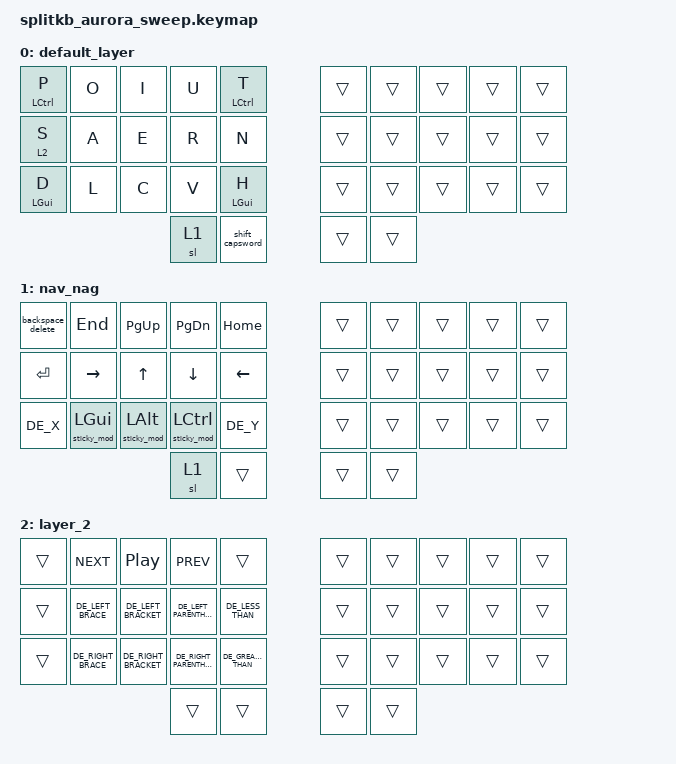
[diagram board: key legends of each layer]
/*
 * Copyright (c) 2022 The ZMK Contributors
 *
 * SPDX-License-Identifier: MIT
 */

#include "keys_de_swiss.h"
#include <behaviors.dtsi>
#include <dt-bindings/zmk/bt.h>
#include <dt-bindings/zmk/keys.h>
#include <dt-bindings/zmk/outputs.h>

&default_transform { col-offset = <0>; };

&mt {
    //  flavor = "tap-preferred";
    // tapping_term_ms = <200>;
};

&led_strip { chain-length = <21>; };

/ {
    combos {
        compatible = "zmk,combos";

        n1 {
            bindings = <&kp NUMBER_1>;
            key-positions = <4 14>;
            layers = <0>;
        };

        f1 {
            bindings = <&kp F1>;
            key-positions = <4 14>;
            layers = <1>;
        };

        n2 {
            bindings = <&kp NUMBER_2>;
            key-positions = <3 13>;
            layers = <0>;
        };

        f2 {
            bindings = <&kp F2>;
            key-positions = <3 13>;
            layers = <1>;
        };

        n3 {
            bindings = <&kp NUMBER_3>;
            key-positions = <2 12>;
            layers = <0>;
        };

        f3 {
            bindings = <&kp F3>;
            key-positions = <2 12>;
            layers = <1>;
        };

        n4 {
            bindings = <&kp NUMBER_4>;
            key-positions = <1 11>;
            layers = <0>;
        };

        f4 {
            bindings = <&kp F4>;
            key-positions = <1 11>;
            layers = <1>;
        };

        n5 {
            bindings = <&kp NUMBER_5>;
            key-positions = <0 10>;
            layers = <0>;
        };

        f5 {
            bindings = <&kp F5>;
            key-positions = <0 10>;
            layers = <1>;
        };

        n6 {
            bindings = <&kp NUMBER_6>;
            key-positions = <14 24>;
            layers = <0>;
        };

        f6 {
            bindings = <&kp F6>;
            key-positions = <14 24>;
            layers = <1>;
        };

        n7 {
            bindings = <&kp NUMBER_7>;
            key-positions = <13 23>;
            layers = <0>;
        };

        f7 {
            bindings = <&kp F7>;
            key-positions = <13 23>;
            layers = <1>;
        };

        n8 {
            bindings = <&kp NUMBER_8>;
            key-positions = <12 22>;
            layers = <0>;
        };

        f8 {
            bindings = <&kp F8>;
            key-positions = <12 22>;
            layers = <1>;
        };

        n9 {
            bindings = <&kp NUMBER_9>;
            key-positions = <11 21>;
            layers = <0>;
        };

        f9 {
            bindings = <&kp F9>;
            key-positions = <11 21>;
            layers = <1>;
        };

        n0 {
            bindings = <&kp N0>;
            key-positions = <10 20>;
            layers = <0>;
        };

        f0 {
            bindings = <&kp F10>;
            key-positions = <10 20>;
            layers = <1>;
        };

        esc {
            bindings = <&kp ESCAPE>;
            key-positions = <14 12>;
        };

        dollar {
            bindings = <&kp DE_DOLLAR>;
            key-positions = <24 22>;
        };

        space {
            bindings = <&kp SPACE>;
            key-positions = <13 11>;
        };

        z {
            bindings = <&kp DE_Z>;
            key-positions = <3 4>;
            layers = <0>;
        };

        g {
            bindings = <&kp G>;
            key-positions = <14 13>;
            layers = <0>;
        };

        b {
            bindings = <&kp B>;
            key-positions = <24 23>;
            layers = <0>;
        };

        m {
            bindings = <&kp M>;
            key-positions = <3 2>;
            layers = <0>;
        };

        f {
            bindings = <&kp F>;
            key-positions = <13 12>;
            layers = <0>;
        };

        j {
            bindings = <&kp J>;
            key-positions = <23 22>;
            layers = <0>;
        };

        w {
            bindings = <&kp DE_W>;
            key-positions = <2 1>;
            layers = <0>;
        };

        oe {
            bindings = <&shift_oe>;
            key-positions = <12 11>;
            layers = <0>;
        };

        k {
            bindings = <&kp K>;
            key-positions = <22 21>;
            layers = <0>;
        };

        q {
            bindings = <&kp DE_Q>;
            key-positions = <1 0>;
            layers = <0>;
        };

        ae {
            bindings = <&shift_ae>;
            key-positions = <11 10>;
            layers = <0>;
        };

        ue {
            bindings = <&shift_ue>;
            key-positions = <21 20>;
            layers = <0>;
        };

        angled-open {
            bindings = <&kp DE_LT>;
            key-positions = <23 24>;
            layers = <1>;
        };

        square-open {
            bindings = <&kp DE_LBKT>;
            key-positions = <3 2>;
            layers = <1>;
        };

        round-open {
            bindings = <&kp DE_LPAR>;
            key-positions = <13 12>;
            layers = <1>;
        };

        curly-open {
            bindings = <&kp DE_LBRC>;
            key-positions = <22 23>;
            layers = <1>;
        };

        square-close {
            bindings = <&kp DE_RBKT>;
            key-positions = <2 1>;
            layers = <1>;
        };

        round-close {
            bindings = <&kp DE_RPAR>;
            key-positions = <11 12>;
            layers = <1>;
        };

        curly-close {
            bindings = <&kp DE_RBRC>;
            key-positions = <22 21>;
            layers = <1>;
        };

        backspace2 {
            bindings = <&kp BACKSPACE>;
            key-positions = <0 1>;
            layers = <1>;
        };

        enter {
            bindings = <&kp ENTER>;
            key-positions = <11 10>;
            layers = <1>;
        };

        angled-close {
            bindings = <&kp DE_GT>;
            key-positions = <21 20>;
            layers = <1>;
        };

        komma {
            bindings = <&kp DE_COMMA>;
            key-positions = <14 3>;
            layers = <0>;
        };

        punkt {
            bindings = <&kp DE_DOT>;
            key-positions = <13 2>;
            layers = <0>;
        };

        tab {
            bindings = <&kp TAB>;
            key-positions = <24 13>;
            layers = <0>;
        };

        strich {
            bindings = <&kp DE_MINUS>;
            key-positions = <23 12>;
            layers = <0>;
        };

        prozent_kaufmaenisch {
            bindings = <&kp DE_PERCENT>;
            key-positions = <14 3 2>;
            layers = <0>;
        };

        slash {
            bindings = <&kp DE_SLASH>;
            key-positions = <13 2 1>;
            layers = <0>;
        };

        hash {
            bindings = <&kp DE_HASH>;
            key-positions = <24 13 12>;
            layers = <0>;
        };

        backslash {
            bindings = <&kp DE_BACKSLASH>;
            key-positions = <23 12 11>;
            layers = <0>;
        };

        bt0 {
            bindings = <&bt BT_SEL 0>;
            key-positions = <4 14 24>;
        };

        bt1 {
            bindings = <&bt BT_SEL 1>;
            key-positions = <3 13 23>;
        };

        bt2 {
            bindings = <&bt BT_SEL 2>;
            key-positions = <22 12 2>;
        };

        bt3 {
            bindings = <&bt BT_SEL 3>;
            key-positions = <1 11 21>;
        };

        bt4 {
            bindings = <&bt BT_SEL 4>;
            key-positions = <0 10 20>;
        };

        bt_clear {
            bindings = <&bt BT_CLR>;
            key-positions = <0 1 2 3>;
        };

        ble {
            bindings = <&out OUT_BLE>;
            key-positions = <11 12 13 14>;
        };

        usb {
            bindings = <&out OUT_USB>;
            key-positions = <24 23 22 21>;
        };

        bootloader {
            bindings = <&bootloader>;
            key-positions = <20 21 22 23>;
            layers = <0>;
        };

        pipe_combo {
            bindings = <&kp DE_PIPE>;
            key-positions = <21 23>;
            layers = <0>;
        };

        DQOUTS {
            bindings = <&kp DE_DQT>;
            key-positions = <14 3>;
            layers = <1>;
        };

        SQUOT {
            bindings = <&kp DE_SQT>;
            key-positions = <13 2>;
            layers = <1>;
        };

        BACKTICK {
            bindings = <&with_space DE_GRAVE>;
            key-positions = <24 13>;
            layers = <1>;
        };

        FRONTTICK {
            bindings = <&with_space DE_ACUTE>;
            key-positions = <23 12>;
            layers = <1>;
        };

        star {
            bindings = <&kp DE_STAR>;
            key-positions = <14 13 12>;
            layers = <0>;
        };

        plus {
            bindings = <&kp DE_PLUS>;
            key-positions = <4 3 2>;
            layers = <0>;
        };

        Dach {
            bindings = <&with_space DE_CARET>;
            key-positions = <24 23 22>;
            layers = <0>;
        };

        tilde {
            bindings = <&with_space DE_TILDE>;
            key-positions = <23 22 21>;
            layers = <0>;
        };

        kspitz {
            bindings = <&klammer DE_LT DE_GT>;
            key-positions = <24 23 22>;
            layers = <1>;
        };

        kbracket {
            bindings = <&klammer DE_LBKT DE_RBKT>;
            key-positions = <3 2 1>;
            layers = <1>;
        };

        kparen {
            bindings = <&klammer DE_LPAR DE_RPAR>;
            key-positions = <11 12 13>;
            layers = <1>;
        };

        kgeschweift {
            bindings = <&klammer DE_LBRC DE_RBRC>;
            key-positions = <21 22 23>;
            layers = <1>;
        };

        equal {
            bindings = <&kp DE_EQUAL>;
            key-positions = <14 3 12>;
        };

        question {
            bindings = <&kp DE_QMARK>;
            key-positions = <13 2 11>;
        };

        at {
            bindings = <&kp DE_AT>;
            key-positions = <24 13 22>;
        };

        excl {
            bindings = <&kp DE_EXCLAMATION>;
            key-positions = <23 12 21>;
        };

        kkgeschweift {
            bindings = <&klammercomma DE_LBRC DE_RBRC>;
            key-positions = <21 22 23 20>;
            layers = <1>;
        };

        degree {
            bindings = <&kp DE_DEGREE>;
            key-positions = <11 12 13>;
            layers = <0>;
        };

        ampersand {
            bindings = <&kp DE_AMPERSAND>;
            key-positions = <1 2 3>;
            layers = <0>;
        };

        dollar2 {
            bindings = <&kp DE_DOLLAR>;
            key-positions = <10 1>;
            layers = <0>;
        };

        atat {
            bindings = <&atat>;
            key-positions = <20 11>;
            layers = <0>;
        };
    };

    macros {
        caps_ae: caps_ae {
            compatible = "zmk,behavior-macro";
            label = "CAPS_AE";
            #binding-cells = <0>;
            bindings =
                <&macro_tap>,
                <&kp CAPSLOCK>,
                <&macro_tap>,
                <&kp DE_A_UMLAUT>,
                <&macro_tap>,
                <&kp CAPSLOCK>;
        };

        caps_oe: caps_oe {
            compatible = "zmk,behavior-macro";
            label = "CAPS_OE";
            #binding-cells = <0>;
            bindings =
                <&macro_tap>,
                <&kp CAPSLOCK>,
                <&macro_tap>,
                <&kp DE_O_UMLAUT>,
                <&macro_tap>,
                <&kp CAPSLOCK>;
        };

        caps_ue: caps_ue {
            compatible = "zmk,behavior-macro";
            label = "CAPS_UE";
            #binding-cells = <0>;
            bindings =
                <&macro_tap>,
                <&kp CAPSLOCK>,
                <&macro_tap>,
                <&kp DE_U_UMLAUT>,
                <&macro_tap>,
                <&kp CAPSLOCK>;
        };

        with_space: with_space {
            compatible = "zmk,behavior-macro-one-param";
            #binding-cells = <1>;
            bindings = <&macro_param_1to1 &kp MACRO_PLACEHOLDER &kp SPACE>;
            label = "WITH_SPACE";
        };

        klammer: klammer {
            compatible = "zmk,behavior-macro-two-param";
            #binding-cells = <2>;
            bindings = <&macro_param_1to1 &kp MACRO_PLACEHOLDER &macro_param_2to1 &kp MACRO_PLACEHOLDER &kp LEFT_ARROW>;
            label = "KLAMMER";
        };

        klammercomma: klammercomma {
            compatible = "zmk,behavior-macro-two-param";
            #binding-cells = <2>;
            bindings = <&macro_param_1to1 &kp MACRO_PLACEHOLDER &macro_param_2to1 &kp MACRO_PLACEHOLDER &kp DE_SEMICOLON &kp LEFT_ARROW &kp LEFT_ARROW>;
            label = "KLAMMERCOMMA";
        };

        atat: atat {
            compatible = "zmk,behavior-macro";
            #binding-cells = <0>;
            bindings = <&kp DE_AT &kp DE_AT>;
            label = "ATAT";
        };
    };

    behaviors {
        brace: brace {
            compatible = "zmk,behavior-mod-morph";
            label = "BRACE";
            bindings = <&kp DE_LEFT_BRACE>, <&kp DE_RIGHT_BRACE>;

            #binding-cells = <0>;
            mods = <(MOD_LSFT|MOD_RSFT)>;
        };

        shift_ae: shift_ae {
            compatible = "zmk,behavior-mod-morph";
            label = "SHIFT_AE";
            bindings = <&kp DE_A_UMLAUT>, <&caps_ae>;

            #binding-cells = <0>;
            mods = <(MOD_LSFT|MOD_RSFT)>;
        };

        shift_oe: shift_oe {
            compatible = "zmk,behavior-mod-morph";
            label = "SHIFT_OE";
            bindings = <&kp DE_O_UMLAUT>, <&caps_oe>;

            #binding-cells = <0>;
            mods = <(MOD_LSFT|MOD_RSFT)>;
        };

        shift_ue: shift_ue {
            compatible = "zmk,behavior-mod-morph";
            label = "SHIFT_UE";
            bindings = <&kp DE_U_UMLAUT>, <&caps_ue>;

            #binding-cells = <0>;
            mods = <(MOD_LSFT|MOD_RSFT)>;
        };

        n1_f1: n1_f1 {
            compatible = "zmk,behavior-mod-morph";
            label = "N1_F1";
            bindings = <&kp NUMBER_1>, <&kp F1>;

            #binding-cells = <0>;
            mods = <(MOD_LSFT|MOD_RSFT)>;
        };

        n2_f2: n2_f2 {
            compatible = "zmk,behavior-mod-morph";
            label = "N2_F2";
            bindings = <&kp NUMBER_2>, <&kp F2>;

            #binding-cells = <0>;
            mods = <(MOD_LSFT|MOD_RSFT)>;
        };

        n3_f3: n3_f3 {
            compatible = "zmk,behavior-mod-morph";
            label = "N3_F3";
            bindings = <&kp NUMBER_3>, <&kp F3>;

            #binding-cells = <0>;
            mods = <(MOD_LSFT|MOD_RSFT)>;
        };

        n4_f4: n4_f4 {
            compatible = "zmk,behavior-mod-morph";
            label = "N4_F4";
            bindings = <&kp NUMBER_4>, <&kp F4>;

            #binding-cells = <0>;
            mods = <(MOD_LSFT|MOD_RSFT)>;
            keep-mods = <(MOD_LSFT|MOD_RSFT)>;
        };

        n5_f5: n5_f5 {
            compatible = "zmk,behavior-mod-morph";
            label = "N5_F5";
            bindings = <&kp NUMBER_5>, <&kp F5>;

            #binding-cells = <0>;
            mods = <(MOD_LSFT|MOD_RSFT)>;
        };

        n6_f6: n6_f6 {
            compatible = "zmk,behavior-mod-morph";
            label = "N6_F6";
            bindings = <&kp NUMBER_6>, <&kp F6>;

            #binding-cells = <0>;
            mods = <(MOD_LSFT|MOD_RSFT)>;
        };

        n7_f7: n7_f7 {
            compatible = "zmk,behavior-mod-morph";
            label = "N7_F7";
            bindings = <&kp NUMBER_7>, <&kp F7>;

            #binding-cells = <0>;
            mods = <(MOD_LSFT|MOD_RSFT)>;
        };

        n8_f8: n8_f8 {
            compatible = "zmk,behavior-mod-morph";
            label = "N8_F8";
            bindings = <&kp NUMBER_8>, <&kp F8>;

            #binding-cells = <0>;
            mods = <(MOD_LSFT|MOD_RSFT)>;
        };

        n9_f9: n9_f9 {
            compatible = "zmk,behavior-mod-morph";
            label = "N9_F9";
            bindings = <&kp NUMBER_9>, <&kp F9>;

            #binding-cells = <0>;
            mods = <(MOD_LSFT|MOD_RSFT)>;
        };

        n0_f10: n0_f10 {
            compatible = "zmk,behavior-mod-morph";
            label = "N0_F10";
            bindings = <&kp NUMBER_0>, <&kp F10>;

            #binding-cells = <0>;
            mods = <(MOD_LSFT|MOD_RSFT)>;
        };

        angle_bracket: angle_bracket {
            compatible = "zmk,behavior-mod-morph";
            label = "ANGLE_BRACKET";
            bindings = <&kp DE_LT>, <&kp DE_GT>;

            #binding-cells = <0>;
            mods = <(MOD_LSFT|MOD_RSFT)>;
        };

        square_bracket: square_bracket {
            compatible = "zmk,behavior-mod-morph";
            label = "SQUARE_BRACKET";
            bindings = <&kp DE_LBKT>, <&kp DE_RBKT>;

            #binding-cells = <0>;
            mods = <(MOD_LSFT|MOD_RSFT)>;
        };

        curly_bracket: curly_bracket {
            compatible = "zmk,behavior-mod-morph";
            label = "CURLY_BRACKET";
            bindings = <&kp DE_LBRC>, <&kp DE_RBRC>;

            #binding-cells = <0>;
            mods = <(MOD_LSFT|MOD_RSFT)>;
        };

        round_bracket: round_bracket {
            compatible = "zmk,behavior-mod-morph";
            label = "ROUND_BRACKET";
            bindings = <&kp DE_LPAR>, <&kp DE_RPAR>;

            #binding-cells = <0>;
            mods = <(MOD_LSFT|MOD_RSFT)>;
        };

        question_exclamation: question_exclamation {
            compatible = "zmk,behavior-mod-morph";
            label = "QUESTION_EXCLAMATION";
            bindings = <&kp DE_QUESTION>, <&kp DE_EXCLAMATION>;

            #binding-cells = <0>;
            mods = <(MOD_LSFT|MOD_RSFT)>;
        };

        quotes: quotes {
            compatible = "zmk,behavior-mod-morph";
            label = "QUOTES";
            bindings = <&kp DE_SQT>, <&kp DE_DOUBLE_QUOTES>;

            #binding-cells = <0>;
            mods = <(MOD_LSFT|MOD_RSFT)>;
        };

        tilde_caret: tilde_caret {
            compatible = "zmk,behavior-mod-morph";
            label = "TILDE_CARET";
            bindings = <&with_space DE_TILDE>, <&with_space DE_CARET>;

            #binding-cells = <0>;
            mods = <(MOD_LSFT|MOD_RSFT)>;
        };

        ticks: ticks {
            compatible = "zmk,behavior-mod-morph";
            label = "TICKS";
            bindings = <&with_space DE_GRAVE>, <&with_space DE_ACUTE>;

            #binding-cells = <0>;
            mods = <(MOD_LSFT|MOD_RSFT)>;
        };

        przoent_ampersand: przoent_ampersand {
            compatible = "zmk,behavior-mod-morph";
            label = "PRZOENT_AMPERSAND";
            bindings = <&kp DE_PERCENT>, <&kp DE_AMPERSAND>;

            #binding-cells = <0>;
            mods = <(MOD_LSFT|MOD_RSFT)>;
        };

        dollar_strich: dollar_strich {
            compatible = "zmk,behavior-mod-morph";
            label = "DOLLAR_STRICH";
            bindings = <&kp DE_DOLLAR>, <&kp DE_PIPE>;

            #binding-cells = <0>;
            mods = <(MOD_LSFT|MOD_RSFT)>;
        };

        plus_mal: plus_mal {
            compatible = "zmk,behavior-mod-morph";
            label = "PLUS_MAL";
            bindings = <&kp DE_PLUS>, <&kp DE_ASTERISK>;

            #binding-cells = <0>;
            mods = <(MOD_LSFT|MOD_RSFT)>;
        };

        forward_back_slash: forward_back_slash {
            compatible = "zmk,behavior-mod-morph";
            label = "FORWARD_BACK_SLASH";
            bindings = <&kp KP_SLASH>, <&kp DE_BACKSLASH>;

            #binding-cells = <0>;
            mods = <(MOD_LSFT|MOD_RSFT)>;
        };

        next_prev: next_prev {
            compatible = "zmk,behavior-mod-morph";
            label = "NEXT_PREV";
            bindings = <&kp C_NEXT>, <&kp C_PREV>;

            #binding-cells = <0>;
            mods = <(MOD_LSFT|MOD_RSFT)>;
        };

        lauter_leiser: lauter_leiser {
            compatible = "zmk,behavior-mod-morph";
            label = "LAUTER_LEISER";
            bindings = <&kp C_VOLUME_UP>, <&kp C_VOLUME_DOWN>;

            #binding-cells = <0>;
            mods = <(MOD_LSFT|MOD_RSFT)>;
        };

        sticky_mod: sticky_mod {
            compatible = "zmk,behavior-sticky-key";
            label = "STICKY_MOD";
            bindings = <&kp>;
            #binding-cells = <1>;
            release-after-ms = <1000>;
            ignore-modifiers;
        };

        hash_equal: hash_equal {
            compatible = "zmk,behavior-mod-morph";
            label = "HASH_EQUAL";
            bindings = <&kp DE_HASH>, <&kp DE_EQUAL>;

            #binding-cells = <0>;
            mods = <(MOD_RSFT|MOD_LSFT)>;
        };

        backspace_delete: backspace_delete {
            compatible = "zmk,behavior-mod-morph";
            label = "BACKSPACE_DELETE";
            bindings = <&kp BACKSPACE>, <&kp DELETE>;

            #binding-cells = <0>;
            mods = <(MOD_RSFT|MOD_LSFT)>;
        };

        shift_capsword: shift_capsword {
            compatible = "zmk,behavior-tap-dance";
            label = "SHIFT_CAPSWORD";
            #binding-cells = <0>;
            bindings = <&sticky_mod LEFT_SHIFT>, <&mycapsword>;
        };

        mycapsword: mycapsword {
            compatible = "zmk,behavior-caps-word";
            label = "MYCAPSWORD";
            #binding-cells = <0>;
            mods = <(MOD_LSFT)>;
            continue-list = <UNDERSCORE MINUS DELETE BACKSPACE SLASH QUESTION>;
        };

        keyplusholdlayer: keyplusholdlayer {
            compatible = "zmk,behavior-hold-tap";
            label = "KEYPLUSHOLDLAYER";
            bindings = <&mo>, <&kp>;

            #binding-cells = <2>;
            tapping-term-ms = <200>;
        };

        homemods: homemods {
            compatible = "zmk,behavior-hold-tap";
            label = "HOMEMODS";
            bindings = <&sticky_mod>, <&kp>;

            #binding-cells = <2>;
            tapping-term-ms = <200>;
            flavor = "balanced";
        };
    };

    keymap {
        compatible = "zmk,keymap";

        default_layer {
            bindings = <
&homemods LEFT_CONTROL P  &kp O  &kp I  &kp U  &homemods LEFT_CONTROL T  &trans  &trans  &trans  &trans  &trans
&keyplusholdlayer 2 S     &kp A  &kp E  &kp R  &kp N                     &trans  &trans  &trans  &trans  &trans
&homemods LEFT_GUI D      &kp L  &kp C  &kp V  &homemods LEFT_GUI H      &trans  &trans  &trans  &trans  &trans
                                        &sl 1  &shift_capsword           &trans  &trans
            >;
        };

        nav_nag {
            bindings = <
&backspace_delete  &kp END               &kp PAGE_UP           &kp PAGE_DOWN             &kp HOME        &trans  &trans  &trans  &trans  &trans
&kp ENTER          &kp RIGHT_ARROW       &kp UP_ARROW          &kp DOWN_ARROW            &kp LEFT_ARROW  &trans  &trans  &trans  &trans  &trans
&kp DE_X           &sticky_mod LEFT_GUI  &sticky_mod LEFT_ALT  &sticky_mod LEFT_CONTROL  &kp DE_Y        &trans  &trans  &trans  &trans  &trans
                                                               &sl 1                     &trans          &trans  &trans
            >;
        };

        layer_2 {
            bindings = <
&trans  &kp C_NEXT          &kp C_PLAY_PAUSE      &kp C_PREV                &trans               &trans  &trans  &trans  &trans  &trans
&trans  &kp DE_LEFT_BRACE   &kp DE_LEFT_BRACKET   &kp DE_LEFT_PARENTHESIS   &kp DE_LESS_THAN     &trans  &trans  &trans  &trans  &trans
&trans  &kp DE_RIGHT_BRACE  &kp DE_RIGHT_BRACKET  &kp DE_RIGHT_PARENTHESIS  &kp DE_GREATER_THAN  &trans  &trans  &trans  &trans  &trans
                                                  &trans                    &trans               &trans  &trans
            >;
        };
    };
};
